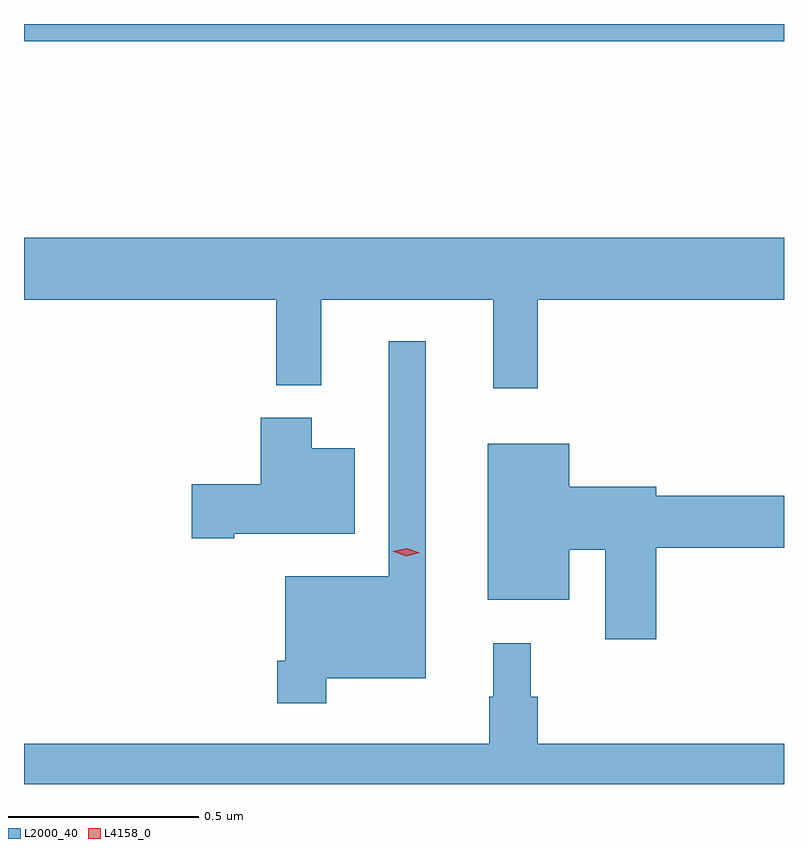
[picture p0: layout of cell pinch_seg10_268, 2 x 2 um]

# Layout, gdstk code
import gdstk
lib = gdstk.Library(unit=1e-6, precision=1e-09)
def R(c, l, rs):  # rectangles x0, y0, x1, y1
    for r in rs: c.add(gdstk.rectangle(r[:2], r[2:], *l))
def P(c, l, *ps):  # polygons
    for p in ps: c.add(gdstk.Polygon(p, *l))
L2000_40 = (2000, 40)
L4158_0 = (4158, 0)

pinch_seg10_268 = lib.new_cell('pinch_seg10_268')
R(pinch_seg10_268, L2000_40, [(573.423,1302.328,575.423,1302.374)])
P(pinch_seg10_268, L2000_40, [(574.775,1301.648),(575.423,1301.648),(575.423,1301.812),(573.423,1301.812),(573.423,1301.648),(574.087,1301.648),(574.087,1301.423),(574.205,1301.423),(574.205,1301.648),(574.658,1301.648),(574.658,1301.415),(574.775,1301.415)],
  [(574.219,1300.652),(574.48,1300.652),(574.48,1301.539),(574.383,1301.539),(574.383,1300.921),(574.11,1300.921),(574.11,1300.699),(574.09,1300.699),(574.09,1300.587),(574.219,1300.587)],
  [(573.976,1301.033),(574.294,1301.033),(574.294,1301.257),(574.18,1301.257),(574.18,1301.338),(574.046,1301.338),(574.046,1301.163),(573.864,1301.163),(573.864,1301.021),(573.976,1301.021)],
  [(575.087,1300.996),(575.423,1300.996),(575.423,1301.132),(575.087,1301.132),(575.087,1301.156),(574.858,1301.156),(574.858,1301.269),(574.643,1301.269),(574.643,1300.859),(574.858,1300.859),(574.858,1300.991),(574.952,1300.991),(574.952,1300.755),(575.087,1300.755)],
  [(575.423,1300.48),(574.775,1300.48),(574.775,1300.604),(574.757,1300.604),(574.757,1300.744),(574.658,1300.744),(574.658,1300.604),(574.647,1300.604),(574.647,1300.48),(573.423,1300.48),(573.423,1300.374),(575.423,1300.374)])
P(pinch_seg10_268, L4158_0, [(574.429,1300.974),(574.394,1300.986),(574.394,1300.986),(574.394,1300.986),(574.43,1300.994),(574.465,1300.983),(574.465,1300.983),(574.465,1300.982)])

lib.write_gds('pinch_seg10_268.gds')
